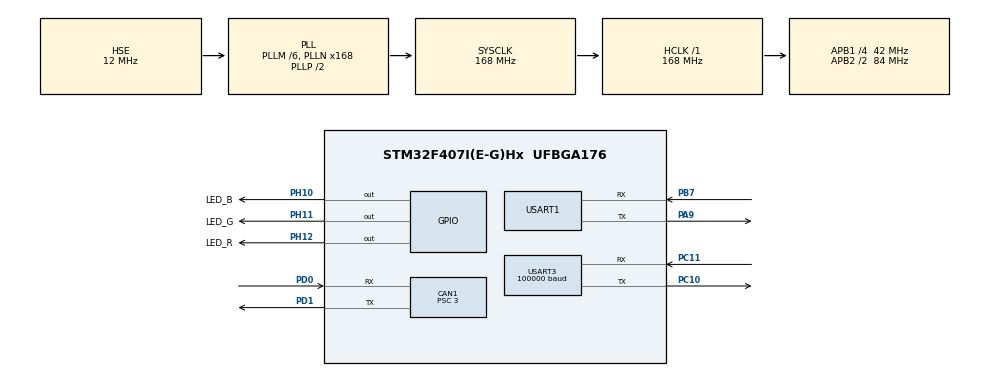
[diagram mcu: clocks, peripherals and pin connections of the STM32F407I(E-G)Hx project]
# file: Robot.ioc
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CAN1.BS1=CAN_BS1_10TQ
CAN1.BS2=CAN_BS2_3TQ
CAN1.CalculateBaudRate=1000000
CAN1.CalculateTimeBit=1000
CAN1.CalculateTimeQuantum=71.42857142857143
CAN1.Prescaler=3
Dma.Request0=USART3_RX
Dma.Request1=USART1_TX
Dma.USART1_TX.1.Direction=DMA_MEMORY_TO_PERIPH
Dma.USART1_TX.1.FIFOMode=DMA_FIFOMODE_DISABLE
Dma.USART1_TX.1.Instance=DMA2_Stream7
Dma.USART1_TX.1.MemDataAlignment=DMA_MDATAALIGN_BYTE
Dma.USART1_TX.1.MemInc=DMA_MINC_ENABLE
Dma.USART1_TX.1.Mode=DMA_NORMAL
Dma.USART1_TX.1.PeriphDataAlignment=DMA_PDATAALIGN_BYTE
Dma.USART1_TX.1.PeriphInc=DMA_PINC_DISABLE
Dma.USART1_TX.1.Priority=DMA_PRIORITY_VERY_HIGH
Dma.USART3_RX.0.Direction=DMA_PERIPH_TO_MEMORY
Dma.USART3_RX.0.FIFOMode=DMA_FIFOMODE_DISABLE
Dma.USART3_RX.0.Instance=DMA1_Stream1
Dma.USART3_RX.0.MemDataAlignment=DMA_MDATAALIGN_BYTE
Dma.USART3_RX.0.MemInc=DMA_MINC_ENABLE
Dma.USART3_RX.0.Mode=DMA_NORMAL
Dma.USART3_RX.0.PeriphDataAlignment=DMA_PDATAALIGN_BYTE
Dma.USART3_RX.0.PeriphInc=DMA_PINC_DISABLE
Dma.USART3_RX.0.Priority=DMA_PRIORITY_VERY_HIGH
FREERTOS.Queues01=ControlQueue,16,uint16_t,0,Dynamic,NULL,NULL
FREERTOS.Tasks01=DebugTask,24,128,StartDebugTask,Default,NULL,Dynamic,NULL,NULL;LEDTask,8,128,StartLEDTask,Default,NULL,Dynamic,NULL,NULL;ReceiveTask,40,128,StartReceiveTask,Default,NULL,Dynamic,NULL,NULL;CANTask,40,128,StartCANTask,Default,NULL,Dynamic,NULL,NULL
Mcu.Family=STM32F4
Mcu.Name=STM32F407I(E-G)Hx
Mcu.Package=UFBGA176
NVIC.CAN1_RX0_IRQn=true\:5\:0\:false\:false\:true\:true\:true\:true\:true
NVIC.DMA1_Stream1_IRQn=true\:5\:0\:false\:false\:true\:true\:false\:true\:true
NVIC.DMA2_Stream7_IRQn=true\:5\:0\:false\:false\:true\:true\:false\:true\:true
NVIC.PriorityGroup=NVIC_PRIORITYGROUP_4
NVIC.TIM6_DAC_IRQn=true\:15\:0\:false\:false\:true\:false\:false\:true\:true
NVIC.TimeBase=TIM6_DAC_IRQn
NVIC.TimeBaseIP=TIM6
NVIC.USART1_IRQn=true\:5\:0\:false\:false\:true\:true\:true\:true\:true
NVIC.USART3_IRQn=true\:5\:0\:false\:false\:true\:true\:true\:true\:true
PA13.Mode=Serial_Wire
PA13.Signal=SYS_JTMS-SWDIO
PA14.Mode=Serial_Wire
PA14.Signal=SYS_JTCK-SWCLK
PA9.Mode=Asynchronous
PA9.Signal=USART1_TX
PB7.Mode=Asynchronous
PB7.Signal=USART1_RX
PC10.Mode=Asynchronous
PC10.Signal=USART3_TX
PC11.Mode=Asynchronous
PC11.Signal=USART3_RX
PD0.Mode=CAN_Activate
PD0.Signal=CAN1_RX
PD1.Mode=CAN_Activate
PD1.Signal=CAN1_TX
PH0-OSC_IN.Mode=HSE-External-Oscillator
PH0-OSC_IN.Signal=RCC_OSC_IN
PH1-OSC_OUT.Mode=HSE-External-Oscillator
PH1-OSC_OUT.Signal=RCC_OSC_OUT
PH10.GPIO_Label=LED_B
PH10.Signal=GPIO_Output
PH11.GPIO_Label=LED_G
PH11.Signal=GPIO_Output
PH12.GPIO_Label=LED_R
PH12.Signal=GPIO_Output
ProjectManager.HeapSize=0x200
ProjectManager.StackSize=0x400
ProjectManager.TargetToolchain=STM32CubeIDE
RCC.48MHZClocksFreq_Value=84000000
RCC.AHBFreq_Value=168000000
RCC.APB1CLKDivider=RCC_HCLK_DIV4
RCC.APB1Freq_Value=42000000
RCC.APB1TimFreq_Value=84000000
RCC.APB2CLKDivider=RCC_HCLK_DIV2
RCC.APB2Freq_Value=84000000
RCC.APB2TimFreq_Value=168000000
RCC.CortexFreq_Value=168000000
RCC.EnbaleCSS=true
RCC.HCLKFreq_Value=168000000
RCC.HSE_VALUE=12000000
RCC.HSI_VALUE=16000000
RCC.LSE_VALUE=32768
RCC.PLLM=6
RCC.PLLN=168
RCC.PLLSourceVirtual=RCC_PLLSOURCE_HSE
RCC.SYSCLKFreq_VALUE=168000000
RCC.SYSCLKSource=RCC_SYSCLKSOURCE_PLLCLK
RCC.VCOOutputFreq_Value=336000000
USART1.VirtualMode=VM_ASYNC
USART3.BaudRate=100000
USART3.Parity=PARITY_NONE
USART3.VirtualMode=VM_ASYNC
VP_FREERTOS_VS_CMSIS_V2.Mode=CMSIS_V2
VP_SYS_VS_tim6.Mode=TIM6
board=custom

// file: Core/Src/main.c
/* USER CODE BEGIN Header */
/**
  ******************************************************************************
  * @file           : main.c
  * @brief          : Main program body
  ******************************************************************************
  * @attention
  *
  * Copyright (c) 2025 STMicroelectronics.
  * All rights reserved.
  *
  * This software is licensed under terms that can be found in the LICENSE file
  * in the root directory of this software component.
  * If no LICENSE file comes with this software, it is provided AS-IS.
  *
  ******************************************************************************
  */
/* USER CODE END Header */
#include "main.h"
#include "cmsis_os.h"

/* USER CODE BEGIN Includes */
#include "stdio.h"
#include "string.h"
#include "stdlib.h"
/* USER CODE END Includes */

CAN_HandleTypeDef hcan1;

UART_HandleTypeDef huart1;
UART_HandleTypeDef huart3;
DMA_HandleTypeDef hdma_usart1_tx;
DMA_HandleTypeDef hdma_usart3_rx;

/* Definitions for DebugTask */
osThreadId_t DebugTaskHandle;
const osThreadAttr_t DebugTask_attributes = {
  .name = "DebugTask",
  .stack_size = 128 * 4,
  .priority = (osPriority_t) osPriorityNormal,
};
/* Definitions for LEDTask */
osThreadId_t LEDTaskHandle;
const osThreadAttr_t LEDTask_attributes = {
  .name = "LEDTask",
  .stack_size = 128 * 4,
  .priority = (osPriority_t) osPriorityLow,
};
/* Definitions for ReceiveTask */
osThreadId_t ReceiveTaskHandle;
const osThreadAttr_t ReceiveTask_attributes = {
  .name = "ReceiveTask",
  .stack_size = 128 * 4,
  .priority = (osPriority_t) osPriorityHigh,
};
/* Definitions for CANTask */
osThreadId_t CANTaskHandle;
const osThreadAttr_t CANTask_attributes = {
  .name = "CANTask",
  .stack_size = 128 * 4,
  .priority = (osPriority_t) osPriorityHigh,
};
/* Definitions for ControlQueue */
osMessageQueueId_t ControlQueueHandle;
const osMessageQueueAttr_t ControlQueue_attributes = {
  .name = "ControlQueue"
};
/* USER CODE BEGIN PV */

// 遥控器相关全局变量
uint8_t   dbus_buf[DBUS_BUFLEN];
rc_info_t rc = rc_Init;

// 电机相关全局变量
motor_measure_t motor_chassis[4] = {0};
Motor_Controller_t motor_controller[4] = {0};
int16_t motor_commands[4] = {0};

// CAN 发送相关变量
static CAN_TxHeaderTypeDef  chassis_tx_message;
static uint8_t              chassis_can_send_data[8];

/* USER CODE END PV */

void SystemClock_Config(void);
static void MX_GPIO_Init(void);
static void MX_DMA_Init(void);
static void MX_USART1_UART_Init(void);
static void MX_USART3_UART_Init(void);
static void MX_CAN1_Init(void);
void StartDebugTask(void *argument);
void StartLEDTask(void *argument);
void StartReceiveTask(void *argument);
void StartCANTask(void *argument);

/* USER CODE BEGIN PFP */

// 遥控器相关函数声明
void uart_receive_handler(UART_HandleTypeDef *huart);
void dbus_uart_init(void);
void rc_callback_handler(rc_info_t *rc, uint8_t *buff);

// 电机控制相关函数声明
void CAN_cmd_chassis(int16_t motor1, int16_t motor2, int16_t motor3, int16_t motor4);
void can_filter_init(void);
void Update_Motor_Measure(uint8_t motor_id, motor_measure_t* measure);
void Motor_PID_Init(void);
void PID_Init(PID_Controller_t* pid, float kp, float ki, float kd, float integral_limit, float output_limit);
float PID_Calculate(PID_Controller_t* pid, float error, float dt);
void Set_Motor_Target_Speed(uint8_t motor_id, float target_speed_rad_s);
void Motor_Speed_Control_Task(float dt);
void Drive_Motor(float vx, float vy, float vz);
float Map_Remote_to_Speed(int16_t input, float max_speed);
void Process_Remote_Control(void);

/* USER CODE END PFP */

/* USER CODE BEGIN 0 */

// 自定义 DMA 接收函数（不使用中断）
static int uart_receive_dma_no_it(UART_HandleTypeDef* huart, uint8_t* pData, uint32_t Size)
{
  uint32_t tmp1 = 0;
  tmp1 = huart->RxState;

	if (tmp1 == HAL_UART_STATE_READY)
	{
		if ((pData == NULL) || (Size == 0))
		{
			return HAL_ERROR;
		}

		huart->pRxBuffPtr = pData;
		huart->RxXferSize = Size;
		huart->ErrorCode  = HAL_UART_ERROR_NONE;

		HAL_DMA_Start(huart->hdmarx, (uint32_t)&huart->Instance->DR, (uint32_t)pData, Size);

		SET_BIT(huart->Instance->CR3, USART_CR3_DMAR);

		return HAL_OK;
	}
	else
	{
		return HAL_BUSY;
	}
}

// 获取当前 DMA 数据计数器
uint16_t dma_current_data_counter(DMA_Stream_TypeDef *dma_stream)
{
  return ((uint16_t)(dma_stream->NDTR));
}

// 遥控器数据解析函数
void rc_callback_handler(rc_info_t *rc, uint8_t *buff)
{
  rc->ch0 = (buff[0] | buff[1] << 8) & 0x07FF;
  rc->ch0 -= 1024;
  rc->ch1 = (buff[1] >> 3 | buff[2] << 5) & 0x07FF;
  rc->ch1 -= 1024;
  rc->ch2 = (buff[2] >> 6 | buff[3] << 2 | buff[4] << 10) & 0x07FF;
  rc->ch2 -= 1024;
  rc->ch3 = (buff[4] >> 1 | buff[5] << 7) & 0x07FF;
  rc->ch3 -= 1024;
  rc->roll = (buff[16] | (buff[17] << 8)) & 0x07FF;
  rc->roll -= 1024;

  rc->sw1 = ((buff[5] >> 4) & 0x000C) >> 2;
  rc->sw2 = (buff[5] >> 4) & 0x0003;

  if ((abs(rc->ch0) > 660) || \
      (abs(rc->ch1) > 660) || \
      (abs(rc->ch2) > 660) || \
      (abs(rc->ch3) > 660))
  {
    memset(rc, 0, sizeof(rc_info_t));
  }
}

// UART 空闲中断回调函数
static void uart_rx_idle_callback(UART_HandleTypeDef* huart)
{
	__HAL_UART_CLEAR_IDLEFLAG(huart);

	if (huart == &DBUS_HUART)
	{
		__HAL_DMA_DISABLE(huart->hdmarx);

		if ((DBUS_MAX_LEN - dma_current_data_counter(huart->hdmarx->Instance)) == DBUS_BUFLEN)
		{
			rc_callback_handler(&rc, dbus_buf);
		}
		__HAL_DMA_SET_COUNTER(huart->hdmarx, DBUS_MAX_LEN);
		__HAL_DMA_ENABLE(huart->hdmarx);
	}
}

// UART 接收处理函数
void uart_receive_handler(UART_HandleTypeDef *huart)
{
	if (__HAL_UART_GET_FLAG(huart, UART_FLAG_IDLE) &&
			__HAL_UART_GET_IT_SOURCE(huart, UART_IT_IDLE))
	{
		uart_rx_idle_callback(huart);
	}
}

// 遥控器串口初始化
void dbus_uart_init(void)
{
	__HAL_UART_CLEAR_IDLEFLAG(&DBUS_HUART);
	__HAL_UART_ENABLE_IT(&DBUS_HUART, UART_IT_IDLE);
	uart_receive_dma_no_it(&DBUS_HUART, dbus_buf, DBUS_MAX_LEN);
}

// RPM 转 rad/s
float RPM_To_RadPerSec(int16_t rpm)
{
    return (float)rpm * 2.0f * 3.1415926535f / 60.0f;
}

// rad/s 转 RPM
int16_t RadPerSec_To_RPM(float rad_per_sec)
{
    return (int16_t)(rad_per_sec * 60.0f / (2.0f * 3.1415926535f));
}

// PID 控制器初始化
void PID_Init(PID_Controller_t* pid, float kp, float ki, float kd, float integral_limit, float output_limit)
{
    pid->kp = kp;
    pid->ki = ki;
    pid->kd = kd;
    pid->integral = 0.0f;
    pid->prev_error = 0.0f;
    pid->output = 0.0f;
    pid->integral_limit = integral_limit;
    pid->output_limit = output_limit;
}

// PID 计算函数
float PID_Calculate(PID_Controller_t* pid, float error, float dt)
{
    // 比例项
    float proportional = pid->kp * error;

    // 积分项（带限幅）
    pid->integral += error * dt;
    if (pid->integral > pid->integral_limit) {
        pid->integral = pid->integral_limit;
    } else if (pid->integral < -pid->integral_limit) {
        pid->integral = -pid->integral_limit;
    }
    float integral = pid->ki * pid->integral;

    // 微分项
    float derivative = pid->kd * (error - pid->prev_error) / dt;
    pid->prev_error = error;

    // 计算总输出
    pid->output = proportional + integral + derivative;

    // 输出限幅
    if (pid->output > pid->output_limit) {
        pid->output = pid->output_limit;
    } else if (pid->output < -pid->output_limit) {
        pid->output = -pid->output_limit;
    }

    return pid->output;
}

// 更新电机测量数据
void Update_Motor_Measure(uint8_t motor_id, motor_measure_t* measure)
{
    if (motor_id < 4) {
        motor_controller[motor_id].measure = *measure;
    }
}

// 初始化所有电机的 PID 控制器
void Motor_PID_Init(void)
{
    // PID参数（需要根据实际电机调试）
    float speed_kp = 32.0f;      // 速度环比例系数
    float speed_ki = 0.8f;      // 速度环积分系数
    float speed_kd = 0.2f;      // 速度环微分系数

    for (int i = 0; i < 4; i++) {
        PID_Init(&motor_controller[i].speed_pid, speed_kp, speed_ki, speed_kd, 3000.0f, 3000.0f);
    }
}

// 设置单个电机的目标速度
void Set_Motor_Target_Speed(uint8_t motor_id, float target_speed_rad_s)
{
    if (motor_id < 4) {
        motor_controller[motor_id].target_speed = target_speed_rad_s;
    }
}

// 电机速度控制任务
void Motor_Speed_Control_Task(float dt)
{
    for (int i = 0; i < 4; i++) {
        // 将电机反馈的RPM转换为rad/s
        float actual_speed_rads = RPM_To_RadPerSec(motor_controller[i].measure.speed_rpm);

        // 计算速度误差（单位：rad/s）
        float speed_error = motor_controller[i].target_speed - actual_speed_rads;

        // PID计算
        float pid_output = PID_Calculate(&motor_controller[i].speed_pid, speed_error, dt);

        // 存储控制命令
        motor_commands[i] = (int16_t)pid_output;
    }
}

// 麦克纳姆轮速度解算函数
void Drive_Motor(float vx, float vy, float vz)
{
    float A = WHEELBASE_WIDTH + WHEELBASE_LENGTH;

    // 标准麦克纳姆轮运动学逆解算公式
    // 轮子编号：0-右上, 1-左上, 2-左下, 3-右下
    float wheel1_speed = ( vx - vy + vz * A) / WHEEL_RADIUS;  // 右上轮
    float wheel2_speed = ( vx + vy + vz * A) / WHEEL_RADIUS;  // 左上轮
    float wheel3_speed = (-vx + vy + vz * A) / WHEEL_RADIUS;  // 左下轮
    float wheel4_speed = (-vx - vy + vz * A) / WHEEL_RADIUS;  // 右下轮

    Set_Motor_Target_Speed(0, wheel1_speed);  // 右上轮
    Set_Motor_Target_Speed(1, wheel2_speed);  // 左上轮
    Set_Motor_Target_Speed(2, wheel3_speed);  // 左下轮
    Set_Motor_Target_Speed(3, wheel4_speed);  // 右下轮
}

// 遥控器值映射到速度
float Map_Remote_to_Speed(int16_t input, float max_speed)
{
    if (input > 660) input = 660;
    if (input < -660) input = -660;

    // 死区内直接返回0
    if (abs(input) < 50) {
        return 0.0f;
    }

    // 不在死区内，正常计算速度
    return (input / 660.0f) * max_speed;
}

// 处理遥控器数据并设置底盘速度
void Process_Remote_Control(void)
{
    // 映射遥控器值到速度 (m/s)
    float vx = Map_Remote_to_Speed(rc.ch2, 2.0f);   // 前后方向，最大2m/s
    float vy = Map_Remote_to_Speed(rc.ch3, 2.0f);  // 左右方向，最大2m/s
    float vz = Map_Remote_to_Speed(rc.ch0, 3.0f);   // 旋转方向，最大3rad/s

    // 调用运动学解算
    Drive_Motor(vx, vy, vz);
}

// CAN 总线数据发送函数
void CAN_cmd_chassis(int16_t motor1, int16_t motor2, int16_t motor3, int16_t motor4)
{
    uint32_t send_mail_box;
    chassis_tx_message.StdId = 0x200;
    chassis_tx_message.IDE = CAN_ID_STD;
    chassis_tx_message.RTR = CAN_RTR_DATA;
    chassis_tx_message.DLC = 0x08;
    chassis_can_send_data[0] = motor1 >> 8;
    chassis_can_send_data[1] = motor1;
    chassis_can_send_data[2] = motor2 >> 8;
    chassis_can_send_data[3] = motor2;
    chassis_can_send_data[4] = motor3 >> 8;
    chassis_can_send_data[5] = motor3;
    chassis_can_send_data[6] = motor4 >> 8;
    chassis_can_send_data[7] = motor4;
    HAL_CAN_AddTxMessage(&hcan1, &chassis_tx_message,
        chassis_can_send_data, &send_mail_box);
}

// CAN 滤波器初始化
void can_filter_init(void)
{
    CAN_FilterTypeDef can_filter_st;
    can_filter_st.FilterActivation = ENABLE;
    can_filter_st.FilterMode = CAN_FILTERMODE_IDMASK;
    can_filter_st.FilterScale = CAN_FILTERSCALE_32BIT;
    can_filter_st.FilterIdHigh = 0x0000;
    can_filter_st.FilterIdLow = 0x0000;
    can_filter_st.FilterMaskIdHigh = 0x0000;
    can_filter_st.FilterMaskIdLow = 0x0007;
    can_filter_st.FilterBank = 0;
    can_filter_st.FilterFIFOAssignment = CAN_RX_FIFO0;
    HAL_CAN_ConfigFilter(&hcan1, &can_filter_st);
    HAL_CAN_Start(&hcan1);
    HAL_CAN_ActivateNotification(&hcan1, CAN_IT_RX_FIFO0_MSG_PENDING);
}

/* USER CODE END 0 */

int main(void)
{

  /* MCU Configuration--------------------------------------------------------*/

  /* Reset of all peripherals, Initializes the Flash interface and the Systick. */
  HAL_Init();

  /* Configure the system clock */
  SystemClock_Config();

  /* Initialize all configured peripherals */
  MX_GPIO_Init();
  MX_DMA_Init();
  MX_USART1_UART_Init();
  MX_USART3_UART_Init();
  MX_CAN1_Init();
  /* USER CODE BEGIN 2 */
  dbus_uart_init();
  HAL_CAN_Start(&hcan1);
  Motor_PID_Init();
  can_filter_init();
  /* USER CODE END 2 */

  /* Init scheduler */
  osKernelInitialize();

  /* Create the queue(s) */
  /* creation of ControlQueue */
  ControlQueueHandle = osMessageQueueNew (16, sizeof(uint16_t), &ControlQueue_attributes);

  /* Create the thread(s) */
  /* creation of DebugTask */
  DebugTaskHandle = osThreadNew(StartDebugTask, NULL, &DebugTask_attributes);

  /* creation of LEDTask */
  LEDTaskHandle = osThreadNew(StartLEDTask, NULL, &LEDTask_attributes);

  /* creation of ReceiveTask */
  ReceiveTaskHandle = osThreadNew(StartReceiveTask, NULL, &ReceiveTask_attributes);

  /* creation of CANTask */
  CANTaskHandle = osThreadNew(StartCANTask, NULL, &CANTask_attributes);

  /* Start scheduler */
  osKernelStart();

  /* We should never get here as control is now taken by the scheduler */

  /* Infinite loop */
  while (1)
  {

  }
}

void SystemClock_Config(void)
{
  RCC_OscInitTypeDef RCC_OscInitStruct = {0};
  RCC_ClkInitTypeDef RCC_ClkInitStruct = {0};

  /** Configure the main internal regulator output voltage
  */
  __HAL_RCC_PWR_CLK_ENABLE();
  __HAL_PWR_VOLTAGESCALING_CONFIG(PWR_REGULATOR_VOLTAGE_SCALE1);

  /** Initializes the RCC Oscillators according to the specified parameters
  * in the RCC_OscInitTypeDef structure.
  */
  RCC_OscInitStruct.OscillatorType = RCC_OSCILLATORTYPE_HSE;
  RCC_OscInitStruct.HSEState = RCC_HSE_ON;
  RCC_OscInitStruct.PLL.PLLState = RCC_PLL_ON;
  RCC_OscInitStruct.PLL.PLLSource = RCC_PLLSOURCE_HSE;
  RCC_OscInitStruct.PLL.PLLM = 6;
  RCC_OscInitStruct.PLL.PLLN = 168;
  RCC_OscInitStruct.PLL.PLLP = RCC_PLLP_DIV2;
  RCC_OscInitStruct.PLL.PLLQ = 4;
  if (HAL_RCC_OscConfig(&RCC_OscInitStruct) != HAL_OK)
  {
    Error_Handler();
  }

  /** Initializes the CPU, AHB and APB buses clocks
  */
  RCC_ClkInitStruct.ClockType = RCC_CLOCKTYPE_HCLK|RCC_CLOCKTYPE_SYSCLK
                              |RCC_CLOCKTYPE_PCLK1|RCC_CLOCKTYPE_PCLK2;
  RCC_ClkInitStruct.SYSCLKSource = RCC_SYSCLKSOURCE_PLLCLK;
  RCC_ClkInitStruct.AHBCLKDivider = RCC_SYSCLK_DIV1;
  RCC_ClkInitStruct.APB1CLKDivider = RCC_HCLK_DIV4;
  RCC_ClkInitStruct.APB2CLKDivider = RCC_HCLK_DIV2;

  if (HAL_RCC_ClockConfig(&RCC_ClkInitStruct, FLASH_LATENCY_5) != HAL_OK)
  {
    Error_Handler();
  }

  /** Enables the Clock Security System
  */
  HAL_RCC_EnableCSS();
}

static void MX_CAN1_Init(void)
{

  hcan1.Instance = CAN1;
  hcan1.Init.Prescaler = 3;
  hcan1.Init.Mode = CAN_MODE_NORMAL;
  hcan1.Init.SyncJumpWidth = CAN_SJW_1TQ;
  hcan1.Init.TimeSeg1 = CAN_BS1_10TQ;
  hcan1.Init.TimeSeg2 = CAN_BS2_3TQ;
  hcan1.Init.TimeTriggeredMode = DISABLE;
  hcan1.Init.AutoBusOff = DISABLE;
  hcan1.Init.AutoWakeUp = DISABLE;
  hcan1.Init.AutoRetransmission = DISABLE;
  hcan1.Init.ReceiveFifoLocked = DISABLE;
  hcan1.Init.TransmitFifoPriority = DISABLE;
  if (HAL_CAN_Init(&hcan1) != HAL_OK)
  {
    Error_Handler();
  }

}

static void MX_USART1_UART_Init(void)
{

  huart1.Instance = USART1;
  huart1.Init.BaudRate = 115200;
  huart1.Init.WordLength = UART_WORDLENGTH_8B;
  huart1.Init.StopBits = UART_STOPBITS_1;
  huart1.Init.Parity = UART_PARITY_NONE;
  huart1.Init.Mode = UART_MODE_TX_RX;
  huart1.Init.HwFlowCtl = UART_HWCONTROL_NONE;
  huart1.Init.OverSampling = UART_OVERSAMPLING_16;
  if (HAL_UART_Init(&huart1) != HAL_OK)
  {
    Error_Handler();
  }

}

static void MX_USART3_UART_Init(void)
{

  huart3.Instance = USART3;
  huart3.Init.BaudRate = 100000;
  huart3.Init.WordLength = UART_WORDLENGTH_8B;
  huart3.Init.StopBits = UART_STOPBITS_1;
  huart3.Init.Parity = UART_PARITY_NONE;
  huart3.Init.Mode = UART_MODE_TX_RX;
  huart3.Init.HwFlowCtl = UART_HWCONTROL_NONE;
  huart3.Init.OverSampling = UART_OVERSAMPLING_16;
  if (HAL_UART_Init(&huart3) != HAL_OK)
  {
    Error_Handler();
  }

}

static void MX_DMA_Init(void)
{

  /* DMA controller clock enable */
  __HAL_RCC_DMA1_CLK_ENABLE();
  __HAL_RCC_DMA2_CLK_ENABLE();

  /* DMA interrupt init */
  /* DMA1_Stream1_IRQn interrupt configuration */
  HAL_NVIC_SetPriority(DMA1_Stream1_IRQn, 5, 0);
  HAL_NVIC_EnableIRQ(DMA1_Stream1_IRQn);
  /* DMA2_Stream7_IRQn interrupt configuration */
  HAL_NVIC_SetPriority(DMA2_Stream7_IRQn, 5, 0);
  HAL_NVIC_EnableIRQ(DMA2_Stream7_IRQn);

}

static void MX_GPIO_Init(void)
{
  GPIO_InitTypeDef GPIO_InitStruct = {0};

  /* GPIO Ports Clock Enable */
  __HAL_RCC_GPIOA_CLK_ENABLE();
  __HAL_RCC_GPIOB_CLK_ENABLE();
  __HAL_RCC_GPIOD_CLK_ENABLE();
  __HAL_RCC_GPIOC_CLK_ENABLE();
  __HAL_RCC_GPIOH_CLK_ENABLE();

  /*Configure GPIO pin Output Level */
  HAL_GPIO_WritePin(GPIOH, LED_R_Pin|LED_G_Pin|LED_B_Pin, GPIO_PIN_RESET);

  /*Configure GPIO pins : LED_R_Pin LED_G_Pin LED_B_Pin */
  GPIO_InitStruct.Pin = LED_R_Pin|LED_G_Pin|LED_B_Pin;
  GPIO_InitStruct.Mode = GPIO_MODE_OUTPUT_PP;
  GPIO_InitStruct.Pull = GPIO_NOPULL;
  GPIO_InitStruct.Speed = GPIO_SPEED_FREQ_LOW;
  HAL_GPIO_Init(GPIOH, &GPIO_InitStruct);

}

/* USER CODE BEGIN 4 */
int _write(int fd, char *ptr, int len) {
    HAL_UART_Transmit(&huart1, (uint8_t*)ptr, len, HAL_MAX_DELAY);
    return len;
}
/* USER CODE END 4 */

void StartDebugTask(void *argument)
{
  /* USER CODE BEGIN 5 */
  printf("Debug Task: Remote Control Monitor\r\n");
  printf("CH0(旋转) CH1 CH2(前后) CH3(左右) SW1 SW2\r\n");
  /* Infinite loop */
  for(;;)
  {
    // 打印遥控器通道值，用于调试信号传输问题
    printf("RC: %4d %4d %4d %4d %d %d\r\n",
           rc.ch0, rc.ch1, rc.ch2, rc.ch3, rc.sw1, rc.sw2);

    // 检查遥控器数据是否有效（非零值表示有信号）
    if (rc.ch0 != 0 || rc.ch1 != 0 || rc.ch2 != 0 || rc.ch3 != 0)
    {
      printf("RC Signal: ACTIVE\r\n");
    }
    else
    {
      printf("RC Signal: NO DATA\r\n");
    }

    // 打印原始数据缓冲区的前几个字节，用于调试原始信号
    printf("Raw: %02X %02X %02X %02X %02X %02X\r\n",
           dbus_buf[0], dbus_buf[1], dbus_buf[2], dbus_buf[3], dbus_buf[4], dbus_buf[5]);

    osDelay(200);  // 200ms 刷新频率，便于观察信号变化
  }
  /* USER CODE END 5 */
}

void StartLEDTask(void *argument)
{
  /* USER CODE BEGIN StartLEDTask */
  /* Infinite loop */
  for(;;)
  {
    HAL_GPIO_TogglePin(LED_R_GPIO_Port, LED_R_Pin);
    osDelay(200);
    HAL_GPIO_TogglePin(LED_R_GPIO_Port, LED_R_Pin);
    osDelay(200);
    HAL_GPIO_TogglePin(LED_G_GPIO_Port, LED_G_Pin);
    osDelay(200);
    HAL_GPIO_TogglePin(LED_G_GPIO_Port, LED_G_Pin);
    osDelay(200);
    HAL_GPIO_TogglePin(LED_B_GPIO_Port, LED_B_Pin);
    osDelay(200);
    HAL_GPIO_TogglePin(LED_B_GPIO_Port, LED_B_Pin);
    osDelay(200);
  }
  /* USER CODE END StartLEDTask */
}

void StartReceiveTask(void *argument)
{
  /* USER CODE BEGIN StartReceiveTask */
  printf("ReceiveTask is running...\r\n");

  // 初始化遥控器串口接收
  dbus_uart_init();

  /* Infinite loop */
  for(;;)
  {
    // 这里可以添加遥控器数据处理逻辑
    // 例如：检查遥控器数据是否更新，处理异常等

    osDelay(10);  // 10ms 周期检查
  }
  /* USER CODE END StartReceiveTask */
}

void StartCANTask(void *argument)
{
  /* USER CODE BEGIN StartCANTask */
  printf("CANTask is running...\r\n");

  uint32_t last_control_time = 0;
  uint32_t dt = 0;

  /* Infinite loop */
  for(;;)
  {
    uint32_t current_time = HAL_GetTick();

    // 控制任务：固定频率执行（50Hz，20ms）
    if (current_time - last_control_time >= 20)
    {
      dt = (current_time - last_control_time) * 0.001f;

      // 处理遥控器数据并计算目标速度
      Process_Remote_Control();

      // 执行电机速度控制
      Motor_Speed_Control_Task(dt);

      // 发送 CAN 命令到电机
      CAN_cmd_chassis(motor_commands[0], motor_commands[1], motor_commands[2], motor_commands[3]);

      last_control_time = current_time;
    }

    osDelay(1);  // 1ms 基础延迟
  }
  /* USER CODE END StartCANTask */
}

void HAL_TIM_PeriodElapsedCallback(TIM_HandleTypeDef *htim)
{
  if (htim->Instance == TIM6)
  {
    HAL_IncTick();
  }
}

void Error_Handler(void)
{
  __disable_irq();
  while (1)
  {
  }
}

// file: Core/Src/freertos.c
/* USER CODE BEGIN Header */
/**
 ******************************************************************************
 * File Name          : freertos.c
 * Description        : Code for freertos applications
 ******************************************************************************
 * @attention
 *
 * Copyright (c) 2025 STMicroelectronics.
 * All rights reserved.
 *
 * This software is licensed under terms that can be found in the LICENSE file
 * in the root directory of this software component.
 * If no LICENSE file comes with this software, it is provided AS-IS.
 *
 ******************************************************************************
 */
/* USER CODE END Header */

#include "FreeRTOS.h"
#include "cmsis_os2.h"
#include "task.h"
#include "main.h"
#include "cmsis_os.h"

/* USER CODE BEGIN Includes */
#include "stdio.h"
/* USER CODE END Includes */

/* USER CODE BEGIN PTD */
uint8_t key_exit_flag = 0;
uint8_t key_rising_falling_flag;
/* USER CODE END PTD */

/* Definitions for LEDTask */
osThreadId_t LEDTaskHandle;
const osThreadAttr_t LEDTask_attributes = {
  .name = "LEDTask",
  .stack_size = 128 * 4,
  .priority = (osPriority_t) osPriorityNormal,
};

void StartLEDTask(void *argument);

void MX_FREERTOS_Init(void); /* (MISRA C 2004 rule 8.1) */

void MX_FREERTOS_Init(void) {

  /* Create the thread(s) */
  /* creation of LEDTask */
  LEDTaskHandle = osThreadNew(StartLEDTask, NULL, &LEDTask_attributes);

}

void StartLEDTask(void *argument)
{
  /* USER CODE BEGIN StartLEDTask */
  /* Infinite loop */
  for (;;) {
    // HAL_GPIO_TogglePin(LED_R_GPIO_Port, LED_R_Pin);
    // osDelay(200);
    // HAL_GPIO_TogglePin(LED_R_GPIO_Port, LED_R_Pin);
    // osDelay(200);
    // HAL_GPIO_TogglePin(LED_G_GPIO_Port, LED_G_Pin);
    // osDelay(200);
    // HAL_GPIO_TogglePin(LED_G_GPIO_Port, LED_G_Pin);
    // osDelay(200);
    // HAL_GPIO_TogglePin(LED_B_GPIO_Port, LED_B_Pin);
    // osDelay(200);
    // HAL_GPIO_TogglePin(LED_B_GPIO_Port, LED_B_Pin);
    // osDelay(200);
    osDelay(20);
  }
  /* USER CODE END StartLEDTask */
}

/* USER CODE BEGIN Application */
void HAL_GPIO_EXTI_Callback(uint16_t GPIO_Pin) {
  if (GPIO_Pin == KEY_Pin) {
    if (key_exit_flag == 0) {
      key_exit_flag = 1;
      key_rising_falling_flag = HAL_GPIO_ReadPin(KEY_GPIO_Port, KEY_Pin);
    }
  }
}

/* USER CODE END Application */
